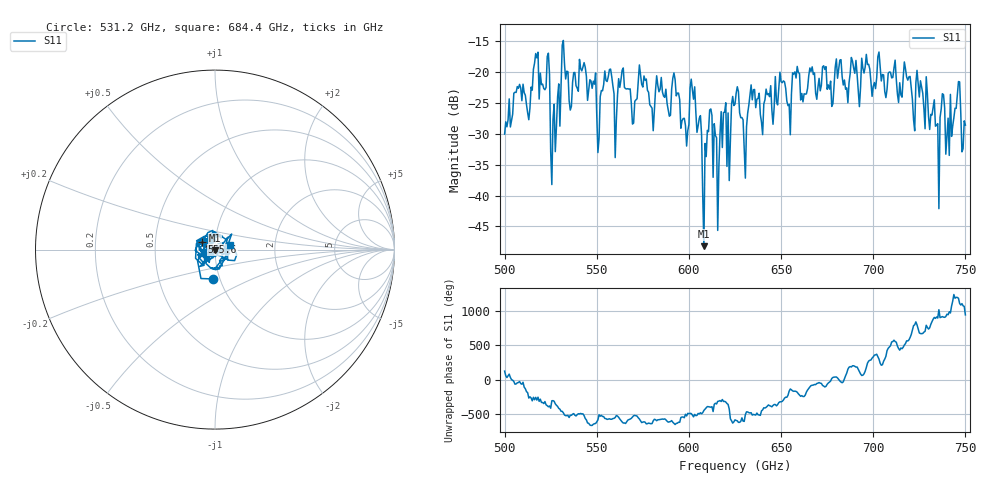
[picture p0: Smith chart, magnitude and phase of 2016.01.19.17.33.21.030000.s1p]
!Created with skrf (http://scikit-rf.org).
# GHz S RI R 50.0
!freq ReS11 ImS11
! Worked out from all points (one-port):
!   401 points, 500 GHz to 750 GHz, reference 50 ohm
!   lowest |S11| = -48.2 dB at 608.1 GHz (marker M1), VSWR 1.01, Z = 50.1 - j0.386 ohm
!   |S11| at or under -10 dB: start of sweep to end of sweep
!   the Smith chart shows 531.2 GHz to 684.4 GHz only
!   S11 on the Smith chart (normalised r, x): 531.2 GHz: 0.93, -0.31; 555.6 GHz: 0.86, +0.08; 684.4 GHz: 1.18, +0.06
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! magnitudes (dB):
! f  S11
! 500 GHz  -30.1
! 506.9 GHz  -22.4
! 513.1 GHz  -27.7
! 516.9 GHz  -17.0
! 523.1 GHz  -17.5
! 526.2 GHz  -27.7
! 531.2 GHz  -15.7
! 541.9 GHz  -19.8
! 551.2 GHz  -30.7
! 555.6 GHz  -21.6
! 560 GHz  -33.9
! 562.5 GHz  -22.5
! 593.8 GHz  -23.4
! 598.8 GHz  -32.0
! 601.9 GHz  -22.9
! 608.1 GHz  -48.2
! 611.2 GHz  -26.2
! 615.6 GHz  -45.6
! 625 GHz  -25.2
! 630 GHz  -32.6
! 634.4 GHz  -24.5
! 656.2 GHz  -20.2
! 684.4 GHz  -21.3
! 687.5 GHz  -20.3
! 718.8 GHz  -21.4
! 735 GHz  -28.4
! 745.6 GHz  -23.7
! 750 GHz  -28.6
